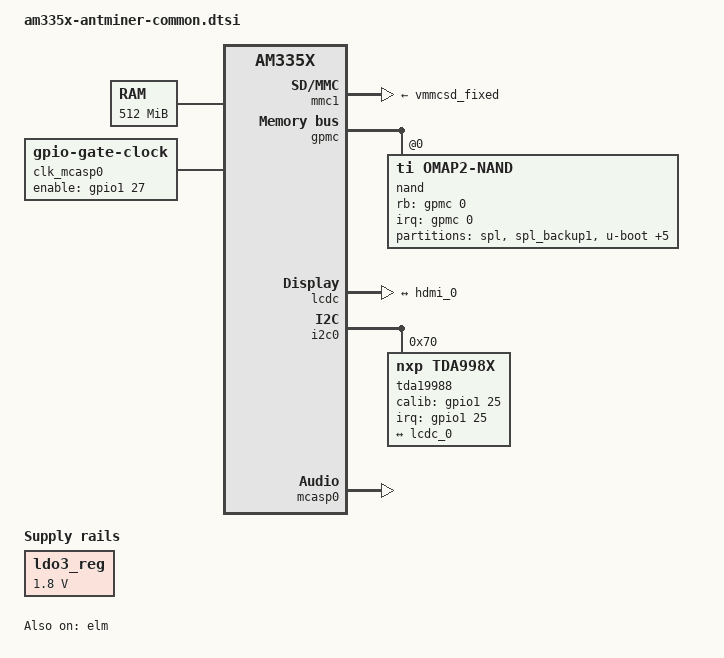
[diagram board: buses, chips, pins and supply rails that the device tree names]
// SPDX-License-Identifier: GPL-2.0-only
/*
 * Copyright (C) 2012 Texas Instruments Incorporated - https://www.ti.com/
 */

#include <dt-bindings/display/tda998x.h>
#include <dt-bindings/interrupt-controller/irq.h>

&ldo3_reg {
	regulator-min-microvolt = <1800000>;
	regulator-max-microvolt = <1800000>;
	regulator-always-on;
};

&mmc1 {
	vmmc-supply = <&vmmcsd_fixed>;
};


&am33xx_pinmux {
	nxp_hdmi_bonelt_pins: nxp_hdmi_bonelt_pins {
		pinctrl-single,pins = <
			AM33XX_PADCONF(AM335X_PIN_XDMA_EVENT_INTR0, PIN_OUTPUT_PULLDOWN, MUX_MODE3)
			AM33XX_PADCONF(AM335X_PIN_LCD_DATA0, PIN_OUTPUT, MUX_MODE0)
			AM33XX_PADCONF(AM335X_PIN_LCD_DATA1, PIN_OUTPUT, MUX_MODE0)
			AM33XX_PADCONF(AM335X_PIN_LCD_DATA2, PIN_OUTPUT, MUX_MODE0)
			AM33XX_PADCONF(AM335X_PIN_LCD_DATA3, PIN_OUTPUT, MUX_MODE0)
			AM33XX_PADCONF(AM335X_PIN_LCD_DATA4, PIN_OUTPUT, MUX_MODE0)
			AM33XX_PADCONF(AM335X_PIN_LCD_DATA5, PIN_OUTPUT, MUX_MODE0)
			AM33XX_PADCONF(AM335X_PIN_LCD_DATA6, PIN_OUTPUT, MUX_MODE0)
			AM33XX_PADCONF(AM335X_PIN_LCD_DATA7, PIN_OUTPUT, MUX_MODE0)
			AM33XX_PADCONF(AM335X_PIN_LCD_DATA8, PIN_OUTPUT, MUX_MODE0)
			AM33XX_PADCONF(AM335X_PIN_LCD_DATA9, PIN_OUTPUT, MUX_MODE0)
			AM33XX_PADCONF(AM335X_PIN_LCD_DATA10, PIN_OUTPUT, MUX_MODE0)
			AM33XX_PADCONF(AM335X_PIN_LCD_DATA11, PIN_OUTPUT, MUX_MODE0)
			AM33XX_PADCONF(AM335X_PIN_LCD_DATA12, PIN_OUTPUT, MUX_MODE0)
			AM33XX_PADCONF(AM335X_PIN_LCD_DATA13, PIN_OUTPUT, MUX_MODE0)
			AM33XX_PADCONF(AM335X_PIN_LCD_DATA14, PIN_OUTPUT, MUX_MODE0)
			AM33XX_PADCONF(AM335X_PIN_LCD_DATA15, PIN_OUTPUT, MUX_MODE0)
			AM33XX_PADCONF(AM335X_PIN_LCD_VSYNC, PIN_OUTPUT_PULLDOWN, MUX_MODE0)
			AM33XX_PADCONF(AM335X_PIN_LCD_HSYNC, PIN_OUTPUT_PULLDOWN, MUX_MODE0)
			AM33XX_PADCONF(AM335X_PIN_LCD_PCLK, PIN_OUTPUT_PULLDOWN, MUX_MODE0)
			AM33XX_PADCONF(AM335X_PIN_LCD_AC_BIAS_EN, PIN_OUTPUT_PULLDOWN, MUX_MODE0)
		>;
	};

	nxp_hdmi_bonelt_off_pins: nxp_hdmi_bonelt_off_pins {
		pinctrl-single,pins = <
			AM33XX_PADCONF(AM335X_PIN_XDMA_EVENT_INTR0, PIN_OUTPUT_PULLDOWN, MUX_MODE3)
		>;
	};

	mcasp0_pins: mcasp0_pins {
		pinctrl-single,pins = <
			AM33XX_PADCONF(AM335X_PIN_MCASP0_AHCLKX, PIN_INPUT_PULLUP, MUX_MODE0) /* mcasp0_ahcklx.mcasp0_ahclkx */
			AM33XX_PADCONF(AM335X_PIN_MCASP0_AHCLKR, PIN_OUTPUT_PULLDOWN, MUX_MODE2) /* mcasp0_ahclkr.mcasp0_axr2*/
			AM33XX_PADCONF(AM335X_PIN_MCASP0_FSX, PIN_OUTPUT_PULLUP, MUX_MODE0)
			AM33XX_PADCONF(AM335X_PIN_MCASP0_ACLKX, PIN_OUTPUT_PULLDOWN, MUX_MODE0)
			AM33XX_PADCONF(AM335X_PIN_GPMC_A11, PIN_OUTPUT_PULLDOWN, MUX_MODE7) /* gpmc_a11.GPIO1_27 */
		>;
	};
	nandflash_pins: pinmux_nandflash {
			pinctrl-single,pins = <
			AM33XX_PADCONF(AM335X_PIN_GPMC_AD0, PIN_INPUT_PULLUP, MUX_MODE0)
			AM33XX_PADCONF(AM335X_PIN_GPMC_AD1, PIN_INPUT_PULLUP, MUX_MODE0)
			AM33XX_PADCONF(AM335X_PIN_GPMC_AD2, PIN_INPUT_PULLUP, MUX_MODE0)
			AM33XX_PADCONF(AM335X_PIN_GPMC_AD3, PIN_INPUT_PULLUP, MUX_MODE0)
			AM33XX_PADCONF(AM335X_PIN_GPMC_AD4, PIN_INPUT_PULLUP, MUX_MODE0)
			AM33XX_PADCONF(AM335X_PIN_GPMC_AD5, PIN_INPUT_PULLUP, MUX_MODE0)
			AM33XX_PADCONF(AM335X_PIN_GPMC_AD6, PIN_INPUT_PULLUP, MUX_MODE0)
			AM33XX_PADCONF(AM335X_PIN_GPMC_AD7, PIN_INPUT_PULLUP, MUX_MODE0)
			AM33XX_PADCONF(AM335X_PIN_GPMC_WAIT0, PIN_INPUT_PULLUP, MUX_MODE0)
			AM33XX_PADCONF(AM335X_PIN_GPMC_WPN, PIN_INPUT_PULLUP, MUX_MODE7)	/* gpmc_wpn.gpio0_30 */
			AM33XX_PADCONF(AM335X_PIN_GPMC_CSN0, PIN_OUTPUT, MUX_MODE0)
			AM33XX_PADCONF(AM335X_PIN_GPMC_ADVN_ALE, PIN_OUTPUT, MUX_MODE0)
			AM33XX_PADCONF(AM335X_PIN_GPMC_OEN_REN, PIN_OUTPUT, MUX_MODE0)
			AM33XX_PADCONF(AM335X_PIN_GPMC_WEN, PIN_OUTPUT, MUX_MODE0)
			AM33XX_PADCONF(AM335X_PIN_GPMC_BEN0_CLE, PIN_OUTPUT, MUX_MODE0)
		>;
	};
};

&elm {
	status = "okay";
};

&gpmc {
	pinctrl-names = "default";
	pinctrl-0 = <&nandflash_pins>;
	ranges = <0 0 0x08000000 0x10000000>;	/* CS0: NAND */
	status = "okay";

	nand@0,0 {
		compatible = "ti,omap2-nand";
		reg = <0 0 4>; /* CS0, offset 0, IO size 4 */
		interrupt-parent = <&gpmc>;
		interrupts = <0 IRQ_TYPE_NONE>, /* fifoevent */
			     <1 IRQ_TYPE_NONE>;	/* termcount */
		rb-gpios = <&gpmc 0 GPIO_ACTIVE_HIGH>; /* gpmc_wait0 */
		ti,elm-id = <&elm>;
		nand-bus-width = <8>;
		ti,nand-ecc-opt = "bch8";
		ti,nand-xfer-type = "polled";

		gpmc,device-nand = "true";
		gpmc,device-width = <1>;
		gpmc,sync-clk-ps = <0>;
		gpmc,cs-on-ns = <0>;
		gpmc,cs-rd-off-ns = <44>;
		gpmc,cs-wr-off-ns = <44>;
		gpmc,adv-on-ns = <6>;
		gpmc,adv-rd-off-ns = <34>;
		gpmc,adv-wr-off-ns = <44>;
		gpmc,we-on-ns = <0>;
		gpmc,we-off-ns = <40>;
		gpmc,oe-on-ns = <0>;
		gpmc,oe-off-ns = <54>;
		gpmc,access-ns = <64>;
		gpmc,rd-cycle-ns = <82>;
		gpmc,wr-cycle-ns = <82>;
		gpmc,bus-turnaround-ns = <0>;
		gpmc,cycle2cycle-delay-ns = <0>;
		gpmc,clk-activation-ns = <0>;
		gpmc,wr-access-ns = <40>;
		gpmc,wr-data-mux-bus-ns = <0>;

		#address-cells = <1>;
		#size-cells = <1>;

		partition@0 {
					label = "spl";
					reg = <0x00 0x20000>;
				};

				partition@1 {
					label = "spl_backup1";
					reg = <0x20000 0x20000>;
				};

				partition@2 {
					label = "u-boot";
					reg = <0x40000 0x100000>;
				};

				partition@3 {
					label = "u-boot-env";
					reg = <0x140000 0x20000>;
				};

				partition@4 {
					label = "u-boot-env.backup1";
					reg = <0x160000 0x20000>;
				};

				partition@5 {
					label = "dtb";
					reg = <0x180000 0x20000>;
				};

				partition@6 {
					label = "kernel";
					reg = <0x1a0000 0xc00000>;
				};
				partition@7 {
					label = "rootfs";
					reg = <0xda0000 0xf260000>;
				};
	};
};

&lcdc {
	status = "okay";

	/* If you want to get 24 bit RGB and 16 BGR mode instead of
	 * current 16 bit RGB and 24 BGR modes, set the propety
	 * below to "crossed" and uncomment the video-ports -property
	 * in tda19988 node.
	 */
	blue-and-red-wiring = "straight";

	port {
		lcdc_0: endpoint@0 {
			remote-endpoint = <&hdmi_0>;
		};
	};
};

&i2c0 {
	tda19988: tda19988@70 {
		compatible = "nxp,tda998x";
		reg = <0x70>;
		nxp,calib-gpios = <&gpio1 25 0>;
		interrupts-extended = <&gpio1 25 IRQ_TYPE_LEVEL_LOW>;

		pinctrl-names = "default", "off";
		pinctrl-0 = <&nxp_hdmi_bonelt_pins>;
		pinctrl-1 = <&nxp_hdmi_bonelt_off_pins>;

		/* Convert 24bit BGR to RGB, e.g. cross red and blue wiring */
		/* video-ports = <0x234501>; */

		#sound-dai-cells = <0>;
		audio-ports = <	TDA998x_I2S	0x03>;

		ports {
			port@0 {
				hdmi_0: endpoint@0 {
					remote-endpoint = <&lcdc_0>;
				};
			};
		};
	};
};

&rtc {
	system-power-controller;
};

&mcasp0	{
	#sound-dai-cells = <0>;
	pinctrl-names = "default";
	pinctrl-0 = <&mcasp0_pins>;
	status = "okay";
	op-mode = <0>;	/* MCASP_IIS_MODE */
	tdm-slots = <2>;
	serial-dir = <	/* 0: INACTIVE, 1: TX, 2: RX */
			0 0 1 0
		>;
	tx-num-evt = <32>;
	rx-num-evt = <32>;
};

/ {
	memory@80000000 {
		device_type = "memory";
		reg = <0x80000000 0x20000000>; /* 512 MB */
	};

	clk_mcasp0_fixed: clk_mcasp0_fixed {
		#clock-cells = <0>;
		compatible = "fixed-clock";
		clock-frequency = <24576000>;
	};

	clk_mcasp0: clk_mcasp0 {
		#clock-cells = <0>;
		compatible = "gpio-gate-clock";
		clocks = <&clk_mcasp0_fixed>;
		enable-gpios = <&gpio1 27 0>; /* BeagleBone Black Clk enable on GPIO1_27 */
	};

	sound {
		compatible = "simple-audio-card";
		simple-audio-card,name = "TI BeagleBone Black";
		simple-audio-card,format = "i2s";
		simple-audio-card,bitclock-master = <&dailink0_master>;
		simple-audio-card,frame-master = <&dailink0_master>;

		dailink0_master: simple-audio-card,cpu {
			sound-dai = <&mcasp0>;
			clocks = <&clk_mcasp0>;
		};

		simple-audio-card,codec {
			sound-dai = <&tda19988>;
		};
	};
};
